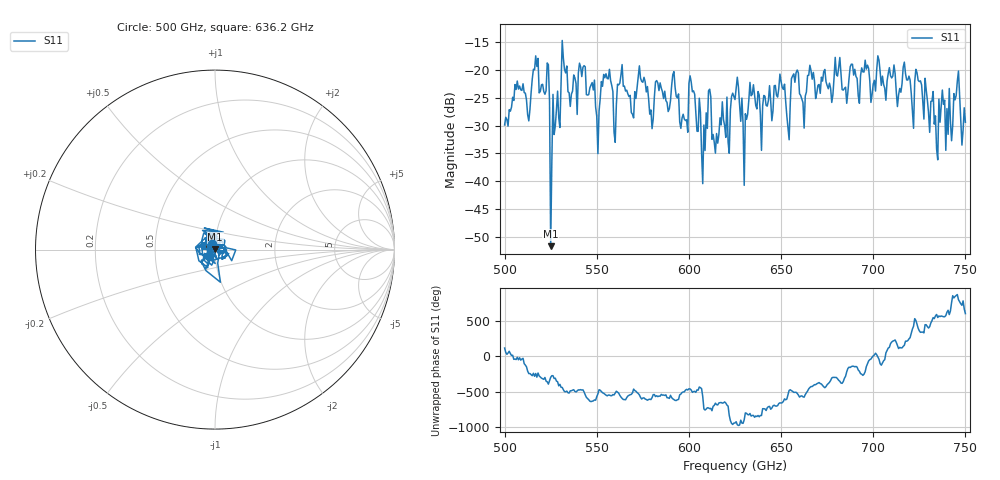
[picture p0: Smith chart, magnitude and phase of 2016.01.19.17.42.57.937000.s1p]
!Created with skrf (http://scikit-rf.org).
# GHz S RI R 50.0
!freq ReS11 ImS11
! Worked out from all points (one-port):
!   401 points, 500 GHz to 750 GHz, reference 50 ohm
!   lowest |S11| = -51.7 dB at 525 GHz (marker M1), VSWR 1.01, Z = 50.1 + j0.231 ohm
!   |S11| at or under -10 dB: start of sweep to end of sweep
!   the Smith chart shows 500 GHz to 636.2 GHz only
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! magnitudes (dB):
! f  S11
! 500 GHz  -29.9
! 506.9 GHz  -22.0
! 513.1 GHz  -29.2
! 516.9 GHz  -17.5
! 523.1 GHz  -18.7
! 525 GHz  -51.7
! 526.2 GHz  -24.4
! 531.2 GHz  -14.7
! 542.5 GHz  -19.5
! 550.6 GHz  -35.0
! 562.5 GHz  -22.4
! 593.8 GHz  -25.0
! 598.1 GHz  -29.1
! 601.2 GHz  -22.2
! 608.1 GHz  -29.9
! 610.6 GHz  -23.8
! 615 GHz  -31.4
! 625 GHz  -25.3
! 630.6 GHz  -27.9
! 633.8 GHz  -24.6
! 650.6 GHz  -23.1
! 653.8 GHz  -30.5
! 656.2 GHz  -21.1
! 687.5 GHz  -19.4
! 718.8 GHz  -21.8
! 734.4 GHz  -34.2
! 745 GHz  -24.6
! 750 GHz  -29.4
